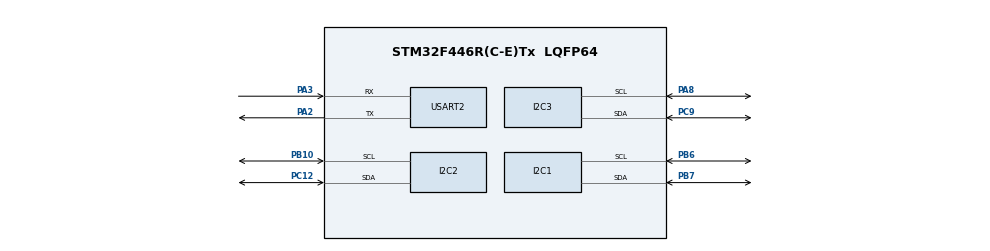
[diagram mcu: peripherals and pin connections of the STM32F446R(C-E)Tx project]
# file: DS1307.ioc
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I2C1.I2C_Mode=I2C_Standard
Mcu.Family=STM32F4
Mcu.Name=STM32F446R(C-E)Tx
Mcu.Package=LQFP64
NVIC.PriorityGroup=NVIC_PRIORITYGROUP_4
PA13.Mode=Serial_Wire
PA13.Signal=SYS_JTMS-SWDIO
PA14.Mode=Serial_Wire
PA14.Signal=SYS_JTCK-SWCLK
PA2.Mode=Asynchronous
PA2.Signal=USART2_TX
PA3.Mode=Asynchronous
PA3.Signal=USART2_RX
PA8.Mode=I2C
PA8.Signal=I2C3_SCL
PB10.Mode=I2C
PB10.Signal=I2C2_SCL
PB6.Mode=I2C
PB6.Signal=I2C1_SCL
PB7.Mode=I2C
PB7.Signal=I2C1_SDA
PC12.Mode=I2C
PC12.Signal=I2C2_SDA
PC9.Mode=I2C
PC9.Signal=I2C3_SDA
PH0-OSC_IN.Mode=HSE-External-Oscillator
PH0-OSC_IN.Signal=RCC_OSC_IN
PH1-OSC_OUT.Mode=HSE-External-Oscillator
PH1-OSC_OUT.Signal=RCC_OSC_OUT
ProjectManager.HeapSize=0x200
ProjectManager.StackSize=0x400
ProjectManager.TargetToolchain=STM32CubeIDE
RCC.CortexFreq_Value=16000000
RCC.USBFreq_Value=96000000
RCC.VCOOutputFreq_Value=192000000
USART2.VirtualMode=VM_ASYNC
board=custom

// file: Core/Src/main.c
/* USER CODE BEGIN Header */
/**
 ******************************************************************************
 * @file           : main.c
 * @brief          : Main program body
 ******************************************************************************
 * @attention
 *
 * Copyright (c) 2023 STMicroelectronics.
 * All rights reserved.
 *
 * This software is licensed under terms that can be found in the LICENSE file
 * in the root directory of this software component.
 * If no LICENSE file comes with this software, it is provided AS-IS.
 *
 ******************************************************************************
 */
/* USER CODE END Header */
#include "main.h"

/* USER CODE BEGIN Includes */
#include "drv_ds1307.h"

#include <stdio.h>
/* USER CODE END Includes */

I2C_HandleTypeDef hi2c1;
I2C_HandleTypeDef hi2c2;
I2C_HandleTypeDef hi2c3;

UART_HandleTypeDef huart2;

void        SystemClock_Config(void);
static void MX_GPIO_Init(void);
static void MX_I2C1_Init(void);
static void MX_USART2_UART_Init(void);
static void MX_I2C2_Init(void);
static void MX_I2C3_Init(void);

/* USER CODE BEGIN 0 */
drv_ds1307_config_t drv_ds1307;
drv_ds1307_time_t   time_ds1307;
char                RX[150];
uint32_t            time_epoch = 0;
/* USER CODE END 0 */

int main(void)
{

  /* MCU Configuration--------------------------------------------------------*/

  /* Reset of all peripherals, Initializes the Flash interface and the Systick. */
  HAL_Init();

  /* Configure the system clock */
  SystemClock_Config();

  /* Initialize all configured peripherals */
  MX_GPIO_Init();
  MX_I2C1_Init();
  MX_USART2_UART_Init();
  MX_I2C2_Init();
  MX_I2C3_Init();
  /* USER CODE BEGIN 2 */

  drv_ds1307.drv_ds1307_address   = 0xD0;
  drv_ds1307.drv_ds1307_i2c       = &hi2c3;
  drv_ds1307.drv_ds1307_id        = 1;
  drv_ds1307.drv_ds1307_mode_time = 24;

  sprintf(RX, "Status Init: %d\r\n", drv_ds1307_init(&drv_ds1307));
  HAL_UART_Transmit(&huart2, (uint8_t *) RX, sizeof(RX), 100);

   drv_ds1307_set_mode_12h(&drv_ds1307);

  time_ds1307.seconds = 58;
  time_ds1307.minutes = 55;
  time_ds1307.hours   = 4;
  time_ds1307.day     = 1;
  time_ds1307.date    = 20;
  time_ds1307.month   = 8;
  time_ds1307.year    = 23;
  time_ds1307.am_pm   = 1;

  sprintf(RX, "Status Config: %d\r\n", drv_ds1307_set_time(drv_ds1307, time_ds1307));
  HAL_UART_Transmit(&huart2, (uint8_t *) RX, sizeof(RX), 100);

  drv_ds1307_enable_swq(drv_ds1307);

  drv_ds1307_set_out_8192Hz(drv_ds1307);

  /* USER CODE END 2 */

  /* Infinite loop */
  while (1)
  {

    /* USER CODE BEGIN 3 */
    drv_ds1307_get_epoch_time(drv_ds1307, &time_epoch);
    drv_ds1307_status_t status = drv_ds1307_get_time(drv_ds1307, &time_ds1307);
    if (status != drv_ds1307_success)
    {
      sprintf(RX, "Error: %d\r\n", status);
      HAL_UART_Transmit(&huart2, (uint8_t *) RX, sizeof(RX), 100);
      HAL_Delay(1000);
    }
    else
    {
      sprintf(RX, "Hours: %d- Minutes: %d- Seconds: %d- Day: %d- Date: %d- Month: %d- Year: %d- AM/PM: %d- Epoch time: %ld\r\n", time_ds1307.hours,
              time_ds1307.minutes, time_ds1307.seconds, time_ds1307.day, time_ds1307.date, time_ds1307.month, time_ds1307.year, time_ds1307.am_pm, time_epoch);
      HAL_UART_Transmit(&huart2, (uint8_t *) RX, sizeof(RX), 100);
      HAL_Delay(1000);
    }
  }
  /* USER CODE END 3 */
}

void SystemClock_Config(void)
{
  RCC_OscInitTypeDef RCC_OscInitStruct = { 0 };
  RCC_ClkInitTypeDef RCC_ClkInitStruct = { 0 };

  /** Configure the main internal regulator output voltage
   */
  __HAL_RCC_PWR_CLK_ENABLE();
  __HAL_PWR_VOLTAGESCALING_CONFIG(PWR_REGULATOR_VOLTAGE_SCALE3);

  /** Initializes the RCC Oscillators according to the specified parameters
   * in the RCC_OscInitTypeDef structure.
   */
  RCC_OscInitStruct.OscillatorType      = RCC_OSCILLATORTYPE_HSI;
  RCC_OscInitStruct.HSIState            = RCC_HSI_ON;
  RCC_OscInitStruct.HSICalibrationValue = RCC_HSICALIBRATION_DEFAULT;
  RCC_OscInitStruct.PLL.PLLState        = RCC_PLL_NONE;
  if (HAL_RCC_OscConfig(&RCC_OscInitStruct) != HAL_OK)
  {
    Error_Handler();
  }

  /** Initializes the CPU, AHB and APB buses clocks
   */
  RCC_ClkInitStruct.ClockType      = RCC_CLOCKTYPE_HCLK | RCC_CLOCKTYPE_SYSCLK | RCC_CLOCKTYPE_PCLK1 | RCC_CLOCKTYPE_PCLK2;
  RCC_ClkInitStruct.SYSCLKSource   = RCC_SYSCLKSOURCE_HSI;
  RCC_ClkInitStruct.AHBCLKDivider  = RCC_SYSCLK_DIV1;
  RCC_ClkInitStruct.APB1CLKDivider = RCC_HCLK_DIV1;
  RCC_ClkInitStruct.APB2CLKDivider = RCC_HCLK_DIV1;

  if (HAL_RCC_ClockConfig(&RCC_ClkInitStruct, FLASH_LATENCY_0) != HAL_OK)
  {
    Error_Handler();
  }
}

static void MX_I2C1_Init(void)
{

  hi2c1.Instance             = I2C1;
  hi2c1.Init.ClockSpeed      = 100000;
  hi2c1.Init.DutyCycle       = I2C_DUTYCYCLE_2;
  hi2c1.Init.OwnAddress1     = 0;
  hi2c1.Init.AddressingMode  = I2C_ADDRESSINGMODE_7BIT;
  hi2c1.Init.DualAddressMode = I2C_DUALADDRESS_DISABLE;
  hi2c1.Init.OwnAddress2     = 0;
  hi2c1.Init.GeneralCallMode = I2C_GENERALCALL_DISABLE;
  hi2c1.Init.NoStretchMode   = I2C_NOSTRETCH_DISABLE;
  if (HAL_I2C_Init(&hi2c1) != HAL_OK)
  {
    Error_Handler();
  }
}

static void MX_I2C2_Init(void)
{

  hi2c2.Instance             = I2C2;
  hi2c2.Init.ClockSpeed      = 100000;
  hi2c2.Init.DutyCycle       = I2C_DUTYCYCLE_2;
  hi2c2.Init.OwnAddress1     = 0;
  hi2c2.Init.AddressingMode  = I2C_ADDRESSINGMODE_7BIT;
  hi2c2.Init.DualAddressMode = I2C_DUALADDRESS_DISABLE;
  hi2c2.Init.OwnAddress2     = 0;
  hi2c2.Init.GeneralCallMode = I2C_GENERALCALL_DISABLE;
  hi2c2.Init.NoStretchMode   = I2C_NOSTRETCH_DISABLE;
  if (HAL_I2C_Init(&hi2c2) != HAL_OK)
  {
    Error_Handler();
  }
}

static void MX_I2C3_Init(void)
{

  hi2c3.Instance             = I2C3;
  hi2c3.Init.ClockSpeed      = 100000;
  hi2c3.Init.DutyCycle       = I2C_DUTYCYCLE_2;
  hi2c3.Init.OwnAddress1     = 0;
  hi2c3.Init.AddressingMode  = I2C_ADDRESSINGMODE_7BIT;
  hi2c3.Init.DualAddressMode = I2C_DUALADDRESS_DISABLE;
  hi2c3.Init.OwnAddress2     = 0;
  hi2c3.Init.GeneralCallMode = I2C_GENERALCALL_DISABLE;
  hi2c3.Init.NoStretchMode   = I2C_NOSTRETCH_DISABLE;
  if (HAL_I2C_Init(&hi2c3) != HAL_OK)
  {
    Error_Handler();
  }
}

static void MX_USART2_UART_Init(void)
{

  huart2.Instance          = USART2;
  huart2.Init.BaudRate     = 115200;
  huart2.Init.WordLength   = UART_WORDLENGTH_8B;
  huart2.Init.StopBits     = UART_STOPBITS_1;
  huart2.Init.Parity       = UART_PARITY_NONE;
  huart2.Init.Mode         = UART_MODE_TX_RX;
  huart2.Init.HwFlowCtl    = UART_HWCONTROL_NONE;
  huart2.Init.OverSampling = UART_OVERSAMPLING_16;
  if (HAL_UART_Init(&huart2) != HAL_OK)
  {
    Error_Handler();
  }
}

static void MX_GPIO_Init(void)
{
  /* GPIO Ports Clock Enable */
  __HAL_RCC_GPIOH_CLK_ENABLE();
  __HAL_RCC_GPIOA_CLK_ENABLE();
  __HAL_RCC_GPIOB_CLK_ENABLE();
  __HAL_RCC_GPIOC_CLK_ENABLE();
}

void Error_Handler(void)
{
  __disable_irq();
  while (1)
  {
  }
}
